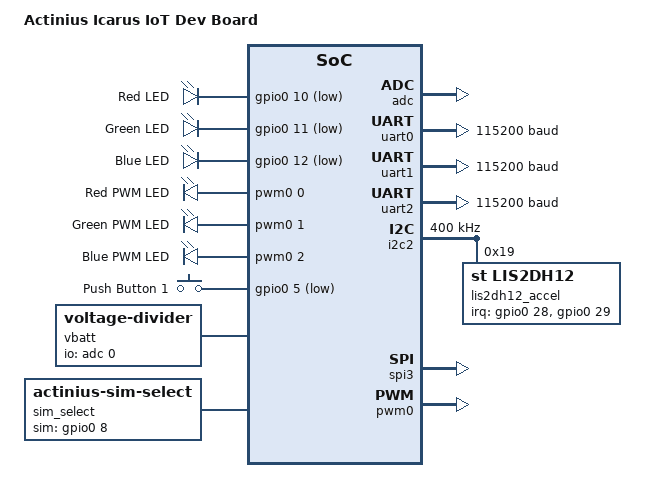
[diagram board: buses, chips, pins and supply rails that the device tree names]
/*
 * Copyright (c) 2019-2022 Actinius
 *
 * SPDX-License-Identifier: Apache-2.0
 */
#include "actinius_icarus_common-pinctrl.dtsi"
#include <zephyr/dt-bindings/input/input-event-codes.h>

/ {
	model = "Actinius Icarus IoT Dev Board";
	compatible = "actinius,icarus";

	chosen {
		zephyr,console = &uart0;
		zephyr,shell-uart = &uart0;
		zephyr,uart-mcumgr = &uart0;
	};

	leds {
		compatible = "gpio-leds";

		red_led: led_0 {
			gpios = <&gpio0 10 GPIO_ACTIVE_LOW>;
			label = "Red LED";
		};

		green_led: led_1 {
			gpios = <&gpio0 11 GPIO_ACTIVE_LOW>;
			label = "Green LED";
		};

		blue_led: led_2 {
			gpios = <&gpio0 12 GPIO_ACTIVE_LOW>;
			label = "Blue LED";
		};
	};

	pwmleds {
		compatible = "pwm-leds";

		red_pwm_led: led_pwm_0 {
			pwms = <&pwm0 0 PWM_MSEC(20) PWM_POLARITY_INVERTED>;
			label = "Red PWM LED";
		};

		green_pwm_led: led_pwm_1 {
			pwms = <&pwm0 1 PWM_MSEC(20) PWM_POLARITY_INVERTED>;
			label = "Green PWM LED";
		};

		blue_pwm_led: led_pwm_2 {
			pwms = <&pwm0 2 PWM_MSEC(20) PWM_POLARITY_INVERTED>;
			label = "Blue PWM LED";
		};
	};

	buttons {
		compatible = "gpio-keys";

		button0: button_0 {
			gpios = <&gpio0 5 (GPIO_PULL_UP | GPIO_ACTIVE_LOW)>;
			label = "Push Button 1";
			zephyr,code = <INPUT_KEY_0>;
		};
	};

	aliases {
		led0 = &red_led;
		led1 = &green_led;
		led2 = &blue_led;
		pwm-led0 = &red_pwm_led;
		pwm-led1 = &green_pwm_led;
		pwm-led2 = &blue_pwm_led;
		red-pwm-led = &red_pwm_led;
		green-pwm-led = &green_pwm_led;
		blue-pwm-led = &blue_pwm_led;
		sw0 = &button0;
		bootloader-led0 = &blue_led;
		mcuboot-button0 = &button0;
		mcuboot-led0 = &blue_led;
		watchdog0 = &wdt0;
		accel0 = &lis2dh12_accel;
	};

	vbatt {
		compatible = "voltage-divider";
		io-channels = <&adc 0>;
		output-ohms = <10000000>;
		full-ohms = <(10000000 + 4700000)>;
	};

	sim_select: sim-select {
		compatible = "actinius-sim-select";
		sim-gpios = <&gpio0 8 GPIO_ACTIVE_HIGH>;
		sim = "esim";
	};
};

&adc {
	status ="okay";
};

&gpiote {
	status = "okay";
};

&gpio0 {
	status = "okay";
};

&uart0 {
	status = "okay";

	current-speed = <115200>;
	pinctrl-0 = <&uart0_default>;
	pinctrl-1 = <&uart0_sleep>;
	pinctrl-names = "default", "sleep";
};

&uart1 {
	status = "okay";

	current-speed = <115200>;
	pinctrl-0 = <&uart1_default>;
	pinctrl-1 = <&uart1_sleep>;
	pinctrl-names = "default", "sleep";
};

&uart2 {
	current-speed = <115200>;
	pinctrl-0 = <&uart2_default>;
	pinctrl-1 = <&uart2_sleep>;
	pinctrl-names = "default", "sleep";
};

&i2c2 {
	compatible = "nordic,nrf-twim";
	status = "okay";

	clock-frequency = <I2C_BITRATE_FAST>;

	pinctrl-0 = <&i2c2_default>;
	pinctrl-1 = <&i2c2_sleep>;
	pinctrl-names = "default", "sleep";
	lis2dh12_accel: lis2dh12-accel@19 {
		compatible = "st,lis2dh12", "st,lis2dh";
		reg = <0x19>;
		irq-gpios = <&gpio0 28 GPIO_ACTIVE_HIGH>,
			  <&gpio0 29 GPIO_ACTIVE_HIGH>;
	};
};

&spi3 {
	compatible = "nordic,nrf-spim";
	status = "okay";

	pinctrl-0 = <&spi3_default>;
	pinctrl-1 = <&spi3_sleep>;
	pinctrl-names = "default", "sleep";
};

&pwm0 {
	status = "okay";
	pinctrl-0 = <&pwm0_default>;
	pinctrl-1 = <&pwm0_sleep>;
	pinctrl-names = "default", "sleep";
};

/* Include file with mappings and aliases for feather compatibility */
#include "feather_connector.dtsi"

/* Include default memory partition configuration file */
#include <common/nordic/nrf91xx_partition.dtsi>
